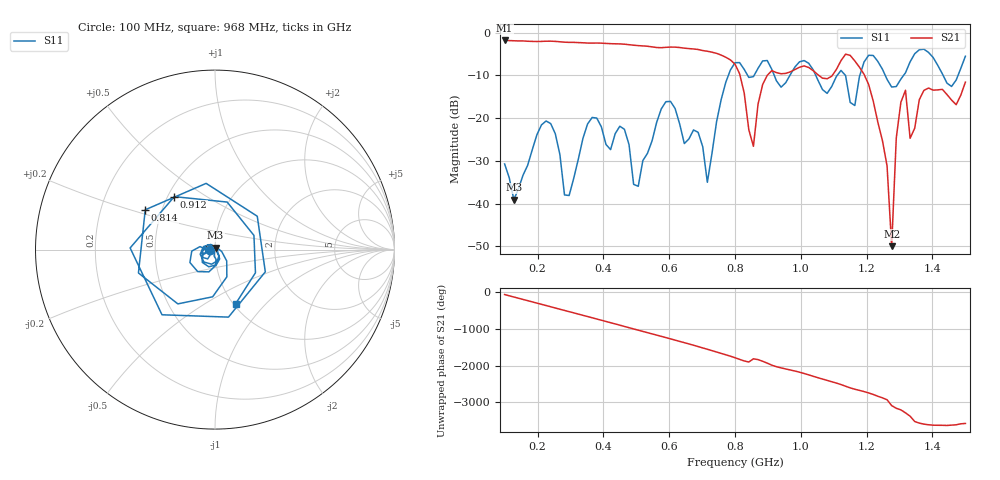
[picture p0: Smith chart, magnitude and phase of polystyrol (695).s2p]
! NanoVNA-App
! Date: 2025-09-25 15:35:17
! Start: 100MHz Stop: 1,5GHz Points: 101
! S-Parameter data: F S11 S21 S12 S22
# Hz S RI R 50
!  Frequency  S11_Real  S11_Imag  S21_Real  S21_Imag  S12_Real  S12_Imag  S22_Real  S22_Imag
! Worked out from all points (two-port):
!   101 points, 100 MHz to 1.5 GHz, reference 50 ohm
!   highest |S21| = -1.80 dB at 100 MHz (marker M1); lowest = -50.0 dB at 1.276 GHz (marker M2)
!   |S21| within 3 dB of the highest: start of sweep to 743.1 MHz
!   lowest |S11| = -39.1 dB at 128 MHz (marker M3), VSWR 1.02, Z = 50.3 + j1.06 ohm
!   |S11| at or under -10 dB: start of sweep to 779.8 MHz; 1.045 GHz to 1.11 GHz (64.78 MHz wide, 6.01 % of centre); 1.136 GHz to 1.179 GHz (43.39 MHz wide, 3.75 % of centre) (the widest 3 of 7)
!   S12 and S22 are empty: the file has one direction only
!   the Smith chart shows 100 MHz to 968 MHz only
!   S11 on the Smith chart (normalised r, x): 100 MHz: 0.94, -0.01; 814 MHz: 0.40, +0.22; 912 MHz: 0.54, +0.37; 968 MHz: 1.02, -0.69
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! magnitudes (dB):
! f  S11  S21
! 100 MHz  -30.7  -1.8
! 128 MHz  -39.1  -1.9
! 212 MHz  -21.6  -2.0
! 282 MHz  -38.0  -2.2
! 338 MHz  -24.7  -2.3
! 506 MHz  -36.0  -3.0
! 576 MHz  -17.8  -3.5
! 716 MHz  -35.0  -4.3
! 800 MHz  -7.0  -7.4
! 814 MHz  -7.0  -9.6
! 856 MHz  -10.3  -26.6
! 912 MHz  -8.6  -8.9
! 968 MHz  -9.8  -9.2
! 1.038 GHz  -8.7  -8.9
! 1.164 GHz  -17.0  -6.6
! 1.206 GHz  -5.3  -12.1
! 1.262 GHz  -10.9  -31.2
! 1.276 GHz  -12.7  -50.0
! 1.29 GHz  -12.6  -24.6
! 1.318 GHz  -9.4  -13.5
! 1.332 GHz  -6.8  -24.7
! 1.5 GHz  -5.5  -11.6
